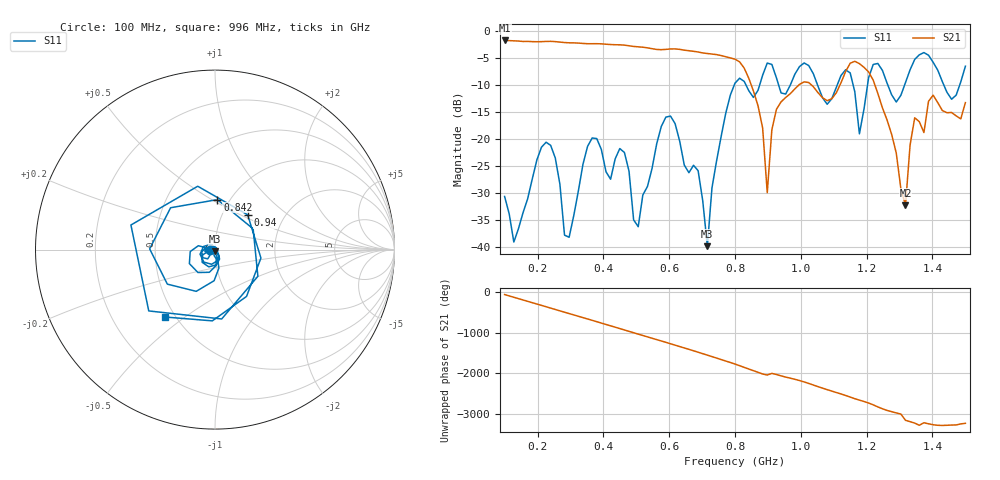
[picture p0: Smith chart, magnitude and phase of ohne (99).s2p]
! NanoVNA-App
! Date: 2025-09-25 14:21:34
! Start: 100MHz Stop: 1,5GHz Points: 101
! S-Parameter data: F S11 S21 S12 S22
# Hz S RI R 50
!  Frequency  S11_Real  S11_Imag  S21_Real  S21_Imag  S12_Real  S12_Imag  S22_Real  S22_Imag
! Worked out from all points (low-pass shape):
!   101 points, 100 MHz to 1.5 GHz, reference 50 ohm
!   highest |S21| = -1.79 dB at 100 MHz (marker M1); lowest = -32.3 dB at 1.318 GHz (marker M2)
!   |S21| within 3 dB of the highest: start of sweep to 771.2 MHz
!   lowest |S11| = -39.8 dB at 716 MHz (marker M3), VSWR 1.02, Z = 49.8 - j0.999 ohm
!   |S11| at or under -10 dB: start of sweep to 798 MHz; 833.1 MHz to 875.1 MHz (41.96 MHz wide, 4.91 % of centre); 1.051 GHz to 1.111 GHz (60.2 MHz wide, 5.57 % of centre) (the widest 3 of 7)
!   S12 and S22 are empty: the file has one direction only
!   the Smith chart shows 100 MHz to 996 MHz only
!   S11 on the Smith chart (normalised r, x): 100 MHz: 0.94, -0.01; 842 MHz: 0.88, +0.53; 940 MHz: 1.31, +0.55; 996 MHz: 0.44, -0.42
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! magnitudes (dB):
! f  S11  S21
! 100 MHz  -30.6  -1.8
! 128 MHz  -39.1  -1.9
! 226 MHz  -20.6  -2.0
! 296 MHz  -38.2  -2.2
! 338 MHz  -24.7  -2.3
! 464 MHz  -22.5  -2.7
! 506 MHz  -36.2  -3.0
! 576 MHz  -17.7  -3.5
! 688 MHz  -25.9  -3.9
! 716 MHz  -39.8  -4.2
! 800 MHz  -9.7  -5.3
! 842 MHz  -11.1  -8.8
! 898 MHz  -6.0  -29.9
! 940 MHz  -11.5  -13.1
! 996 MHz  -6.6  -9.9
! 1.038 GHz  -7.9  -10.3
! 1.178 GHz  -19.1  -6.1
! 1.22 GHz  -6.2  -9.1
! 1.276 GHz  -11.8  -19.2
! 1.318 GHz  -9.6  -32.3
! 1.346 GHz  -5.3  -16.1
! 1.5 GHz  -6.6  -13.3
